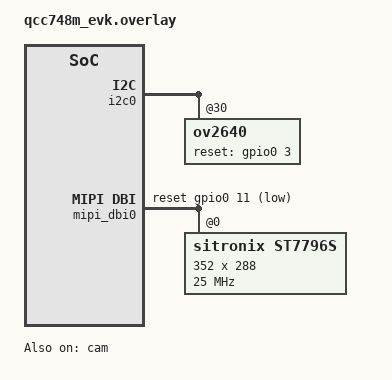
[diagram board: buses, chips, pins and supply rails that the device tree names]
/*
 * Copyright (c) 2025 Qualcomm Technologies, Inc. and/or its subsidiaries
 *
 * SPDX-License-Identifier: Apache-2.0
 */

/ {
	chosen {
		zephyr,display = &st7796s;
		/* zephyr,camera is set by weact_ov2640_cam_module shield overlay */
	};
};

&pinctrl {
	status = "okay";
	i2c0_default: i2c0_default {
		group1 {
			pinmux = <I2C0_SCL_GPIO18>,
				 <I2C0_SDA_GPIO19>,
				 <CLKOUT_GPIO23>;
		};
	};
	cam_default: cam_default {
		group1 {
			pinmux = <CAM0_DAT0_GPIO24>,
				 <CAM0_DAT1_GPIO25>,
				 <CAM0_DAT2_GPIO26>,
				 <CAM0_DAT3_GPIO27>,
				 <CAM0_HSYNC_GPIO28>,
				 <CAM0_VSYNC_GPIO29>,
				 <CAM0_CLK_GPIO30>,
				 <CAM0_DAT4_GPIO31>,
				 <CAM0_DAT5_GPIO32>,
				 <CAM0_DAT6_GPIO33>,
				 <CAM0_DAT7_GPIO34>;
		};
	};
	/* DBI typeC 4wire mode — drive-strength=2 + pull-up + SMT (matches old project) */
	mipi_dbi0_typeC_4wire_default: mipi_dbi0_typeC_4wire_default {
		group1 {
			pinmux = <DBI_C_SCL_GPIO12_DS2>,
				 <DBI_C_CSn_GPIO13_DS2>,
				 <DBI_C_SDA0_GPIO14_DS2>,
				 <DBI_C_DCn_GPIO15_DS2>;
		};
	};    
};

/* i2c0 pinctrl — ov2640@30 node is added by the shield overlay;
 * board-specific properties are merged in here. */
&i2c0 {
	status = "okay";
	pinctrl-0 = <&i2c0_default>;
	pinctrl-names = "default";
	ov2640: ov2640@30 {
		reset-gpios = <&gpio0 3 GPIO_ACTIVE_HIGH>;
		clock-rate-control = <0x00>;
	};
};

/* cam pinctrl — port/endpoint added by the shield overlay */
&cam {
	status = "okay";
	pinctrl-0 = <&cam_default>;
	pinctrl-names = "default";
	source = <&ov2640>;
};

&dma {
	status = "okay";
};

&mipi_dbi0 {
	status = "okay";
	dmas = <&dma 3  DMA_REQUEST_DBI_TX  DMA_ADDR_DBI_TDR>;
	pinctrl-names = "default";
	pinctrl-0 = <&mipi_dbi0_typeC_4wire_default>;
	mipi-mode = "MIPI_DBI_MODE_SPI_4WIRE";
	clock-frequency = <30000000>;
	reset-gpios = <&gpio0 11 GPIO_ACTIVE_LOW>;

	st7796s: st7796s@0 {
		compatible = "sitronix,st7796s";
		status = "okay";
		mipi-mode = "MIPI_DBI_MODE_SPI_4WIRE";
		mipi-max-frequency = <25000000>;
		reg = <0>;
		height = <288>;
		width = <352>;
		invert-mode = "1-dot";
		color-invert;
		frmctl1 = [80 10];
		bpc = [1F 50 00 20];
		dfc = [8A 07 3B];
		pwr1 = [80 64];
		pwr2 = <0x13>;
		pwr3 = <0xA7>;
		vcmpctl = <0x09>;
		doca = [40 8A 00 00 29 19 A5 38];
		pgc = [F0 06 0B 07 06 05 2E 33 47 3A 17 16 2E 31];
		ngc = [F0 09 0D 09 08 23 2E 33 46 38 13 13 2C 32];
		madctl = <0x28>;
	};
};
